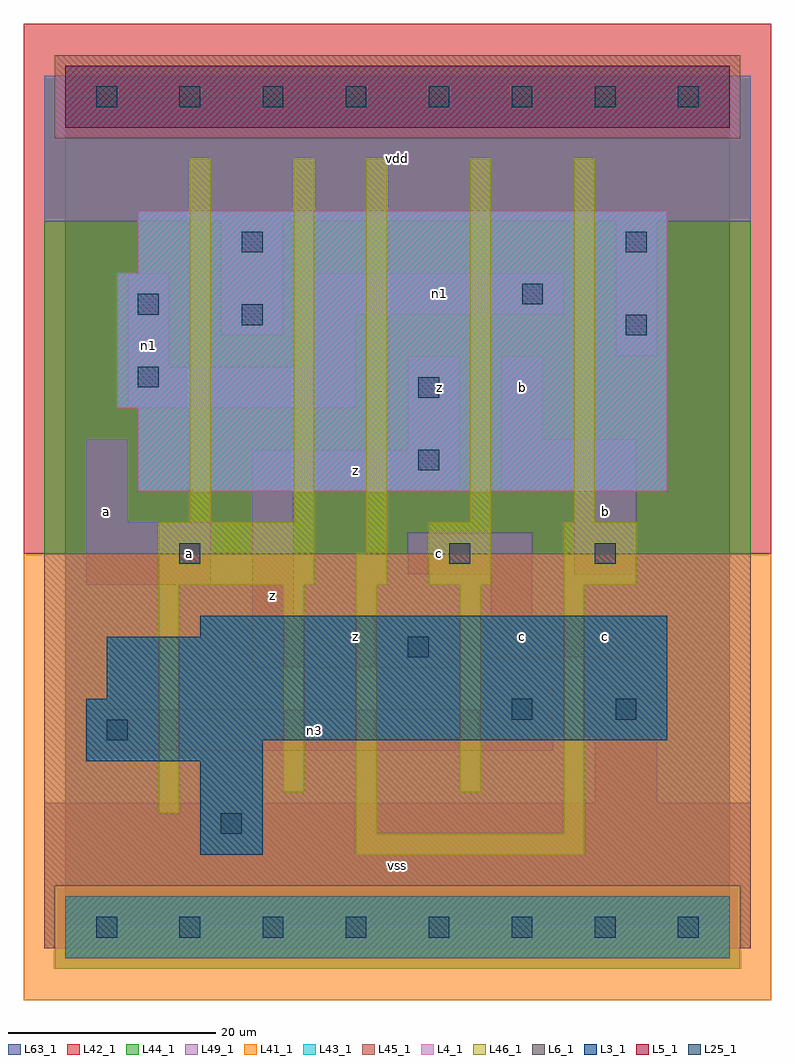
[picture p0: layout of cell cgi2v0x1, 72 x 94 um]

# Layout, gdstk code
import gdstk
lib = gdstk.Library(unit=1e-6, precision=1e-09)
def R(c, l, rs):  # rectangles x0, y0, x1, y1
    for r in rs: c.add(gdstk.rectangle(r[:2], r[2:], *l))
def A(c, l, x, y, w, h, nx, ny, dx, dy):  # array of equal rectangles
    R(c, l, [(x+i*dx, y+j*dy, x+i*dx+w, y+j*dy+h) for i in range(nx) for j in range(ny)])
L3_1 = (3, 1)
L4_1 = (4, 1)
L5_1 = (5, 1)
L6_1 = (6, 1)
L25_1 = (25, 1)
L41_1 = (41, 1)
L42_1 = (42, 1)
L43_1 = (43, 1)
L44_1 = (44, 1)
L45_1 = (45, 1)
L46_1 = (46, 1)
L49_1 = (49, 1)
L63_1 = (63, 1)

cgi2v0x1 = lib.new_cell('cgi2v0x1')
R(cgi2v0x1, L3_1, [(13,7,19,16), (2,16,19,18), (2,18,58,22), (4,22,58,28), (13,28,58,30)])
R(cgi2v0x1, L4_1, [(7,42,58,50), (5,50,58,63), (7,63,58,69)])
R(cgi2v0x1, L5_1, [(0,77,64,83)])
R(cgi2v0x1, L6_1, [(0,-3,64,3), (0,-3,64,3)])
A(cgi2v0x1, L25_1, 3, -1, 2, 2, 8, 2, 8, 80)
R(cgi2v0x1, L25_1, [(15,9,17,11), (4,18,6,20), (43,20,45,22), (53,20,55,22), (33,26,35,28), (11,35,13,37), (37,35,39,37), (51,35,53,37), (34,44,36,46), (34,51,36,53), (7,52,9,54), (54,57,56,59), (17,58,19,60), (7,59,9,61), (44,60,46,62), (17,65,19,67), (54,65,56,67)])
R(cgi2v0x1, L41_1, [(-4,-7,68,36)])
R(cgi2v0x1, L42_1, [(-4,36,68,87)])
R(cgi2v0x1, L43_1, [(0,-3,64,3), (13,7,19,16), (2,16,19,18), (2,18,58,22), (4,22,58,28), (13,28,58,30), (7,42,58,50), (5,50,58,63), (7,63,58,69), (0,77,64,83)])
R(cgi2v0x1, L44_1, [(-1,-4,65,4), (-2,36,66,76), (-2,76,-1,82), (65,76,66,82)])
R(cgi2v0x1, L45_1, [(-2,-2,-1,4), (65,-2,66,4), (-2,4,66,36), (-1,76,65,84)])
R(cgi2v0x1, L46_1, [(28,7,50,9), (28,9,30,33), (48,9,50,33), (9,11,11,33), (21,13,23,33), (38,13,40,33), (9,33,24,39), (28,33,31,36), (35,33,41,39), (48,33,55,39), (29,36,31,74), (12,39,14,74), (22,39,24,74), (39,39,41,74), (49,39,51,74)])
R(cgi2v0x1, L49_1, [(-2,-2,66,12), (51,12,57,23), (2,17,47,21), (41,21,47,23), (18,25,37,30), (41,26,55,30), (18,30,22,42), (41,30,45,34), (2,33,14,39), (33,34,45,38), (49,34,55,42), (2,39,6,47), (18,42,38,46), (42,42,55,47), (33,46,38,55), (42,47,46,55), (6,50,28,54), (6,54,10,63), (24,54,28,59), (53,55,57,68), (15,57,21,68), (24,59,48,63), (-2,68,66,82)])
R(cgi2v0x1, L63_1, [(0,0,64,80)])
cgi2v0x1.add(gdstk.Label('a', (4,40), layer=49, texttype=1))
cgi2v0x1.add(gdstk.Label('n1', (8,56), layer=49, texttype=1))
cgi2v0x1.add(gdstk.Label('z', (20,32), layer=49, texttype=1))
cgi2v0x1.add(gdstk.Label('a', (12,36), layer=49, texttype=1))
cgi2v0x1.add(gdstk.Label('vss', (32,6), layer=49, texttype=1))
cgi2v0x1.add(gdstk.Label('z', (28,28), layer=49, texttype=1))
cgi2v0x1.add(gdstk.Label('z', (28,44), layer=49, texttype=1))
cgi2v0x1.add(gdstk.Label('c', (36,36), layer=49, texttype=1))
cgi2v0x1.add(gdstk.Label('z', (36,52), layer=49, texttype=1))
cgi2v0x1.add(gdstk.Label('vdd', (32,74), layer=49, texttype=1))
cgi2v0x1.add(gdstk.Label('n3', (24,19), layer=49, texttype=1))
cgi2v0x1.add(gdstk.Label('c', (44,28), layer=49, texttype=1))
cgi2v0x1.add(gdstk.Label('b', (44,52), layer=49, texttype=1))
cgi2v0x1.add(gdstk.Label('n1', (36,61), layer=49, texttype=1))
cgi2v0x1.add(gdstk.Label('c', (52,28), layer=49, texttype=1))
cgi2v0x1.add(gdstk.Label('b', (52,40), layer=49, texttype=1))

lib.write_gds('cgi2v0x1.gds')
